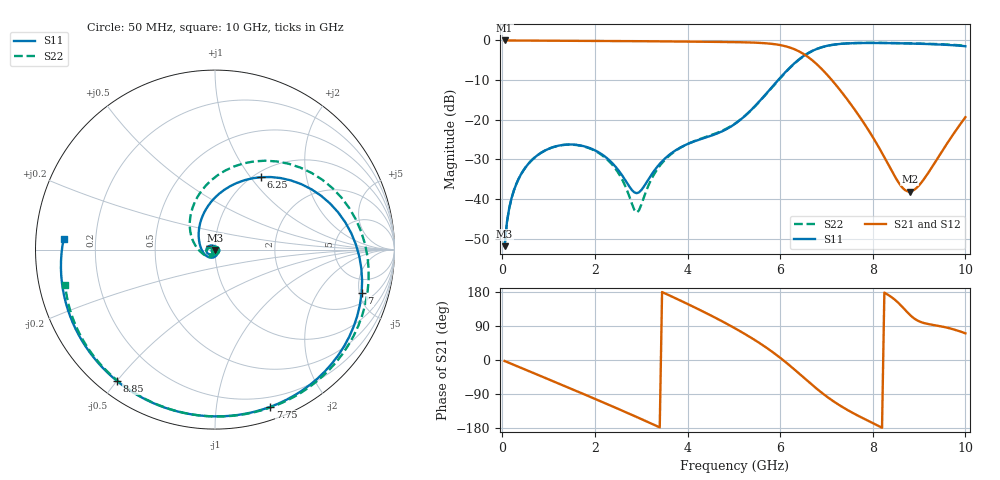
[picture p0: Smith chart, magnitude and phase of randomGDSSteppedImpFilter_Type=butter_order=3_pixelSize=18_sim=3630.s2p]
! freq	dB(S11)	phase(S11)	dB(S12)	phase(S12)
!  dB(S21)	phase(S21)	dB(S22)	phase(S22)
!S-par simulation data
#  GHz  S  DB  R 50
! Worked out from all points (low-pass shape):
!   200 points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, 50 MHz to 10 GHz, reference 50 ohm
!   highest |S21| = 0.00 dB at 50 MHz (marker M1); lowest = -38.1 dB at 8.8 GHz (marker M2)
!   |S21| within 3 dB of the highest: start of sweep to 6.446 GHz
!   lowest |S11| = -51.9 dB at 50 MHz (marker M3), VSWR 1.01, Z = 50 - j0.253 ohm
!   |S11| at or under -10 dB: start of sweep to 5.957 GHz
!   |S22| runs from -51.9 to -0.6 dB; largest |S21 - S12| = 0
!   S11 on the Smith chart (normalised r, x): 50 MHz: 1.00, -0.01; 6.25 GHz: 1.08, +1.13; 7 GHz: 2.99, -5.26; 7.75 GHz: 0.11, -1.41; 8.85 GHz: 0.06, -0.50; 10 GHz: 0.08, +0.03
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0.05  -51.92 -90.5  -0.00 -2.6  -0.00 -2.6  -51.92 -90.2
0.1  -45.88 -93.7  -0.01 -5.2  -0.01 -5.2  -45.87 -93.2
0.2  -39.81 -99.3  -0.02 -10.3  -0.02 -10.3  -39.80 -98.4
0.55  -31.32 -119.3  -0.04 -28.1  -0.04 -28.1  -31.32 -116.6
1.2  -26.59 -156.2  -0.08 -61.3  -0.08 -61.3  -26.61 -149.3
1.75  -26.66 171.4  -0.11 -89.5  -0.11 -89.5  -26.73 -175.5
2.4  -31.27 123.9  -0.15 -123.5  -0.15 -123.5  -31.72 159.0
2.9  -38.55 31.2  -0.18 -150.3  -0.18 -150.3  -43.43 -153.0
3.4  -31.15 -63.6  -0.23 -177.8  -0.23 -177.8  -31.65 -101.5
4.15  -25.45 -125.2  -0.31 139.1  -0.31 139.1  -25.39 -132.1
4.65  -23.43 -165.8  -0.37 108.4  -0.37 108.4  -23.27 -156.7
5.05  -20.85 160.0  -0.43 81.9  -0.43 81.9  -20.77 -179.4
5.75  -12.76 102.7  -0.77 28.6  -0.77 28.6  -12.85 127.2
6.25  -6.40 57.4  -1.95 -19.0  -1.95 -19.0  -6.47 77.1
6.7  -2.60 11.8  -5.07 -66.7  -5.07 -66.7  -2.63 27.6
7  -1.39 -16.5  -8.47 -95.9  -8.47 -95.9  -1.41 -2.5
7.75  -0.64 -70.6  -19.83 -151.2  -19.83 -151.2  -0.63 -59.0
8.35  -0.67 -102.9  -31.61 170.4  -31.61 170.4  -0.64 -91.6
8.8  -0.77 -124.5  -38.14 119.4  -38.14 119.4  -0.73 -112.6
8.85  -0.79 -126.8  -38.00 113.8  -38.00 113.8  -0.74 -114.8
9.45  -1.03 -155.2  -28.82 89.4  -28.82 89.4  -0.95 -141.2
10  -1.46 176.0  -19.37 70.4  -19.37 70.4  -1.34 -166.8
